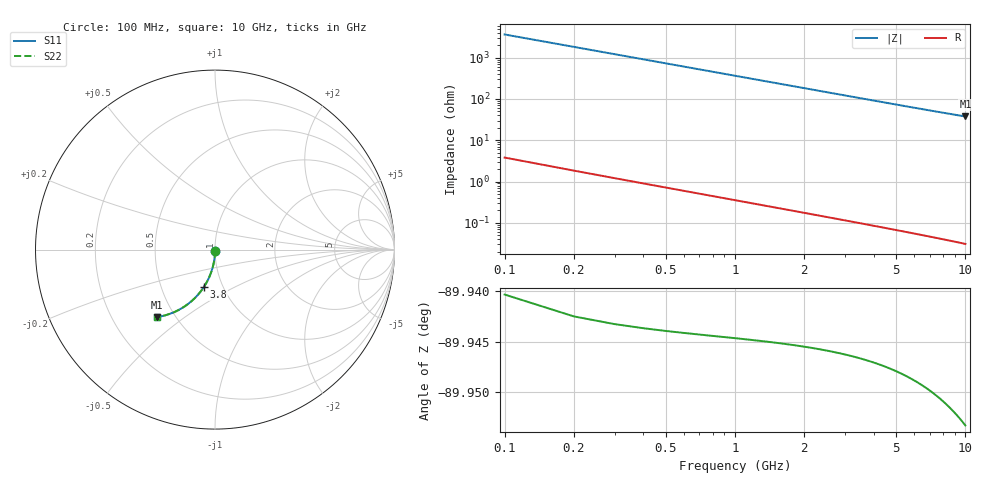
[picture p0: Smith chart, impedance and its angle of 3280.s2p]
# Hz S RI R 50.00
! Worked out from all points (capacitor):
!   100 points, 100 MHz to 10 GHz, reference 50 ohm
!   read as one part in shunt: C = 435 fF near 100 MHz
!   lowest |Z| = 37.7 ohm at 10 GHz (marker M1)
!   S11 on the Smith chart (normalised r, x): 100 MHz: 1.00, -0.01; 3.8 GHz: 0.81, -0.36; 10 GHz: 0.40, -0.40
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1e8  0.000153 -0.00591  0.9997 -0.00775  0.9997 -0.00775  0.000153 -0.00591
2e8  1.07e-05 -0.0118  0.9996 -0.0155  0.9996 -0.0155  1.07e-05 -0.0118
3e8  -0.000224 -0.0177  0.9993 -0.0233  0.9993 -0.0233  -0.000224 -0.0177
4e8  -0.00055 -0.0236  0.999 -0.031  0.999 -0.031  -0.00055 -0.0236
5e8  -0.000968 -0.0295  0.9986 -0.0387  0.9986 -0.0387  -0.000968 -0.0295
6e8  -0.00148 -0.0354  0.998 -0.0465  0.998 -0.0465  -0.00148 -0.0354
7e8  -0.00208 -0.0413  0.9974 -0.0542  0.9974 -0.0542  -0.00208 -0.0413
8e8  -0.00277 -0.0471  0.9967 -0.0619  0.9967 -0.0619  -0.00277 -0.0471
9e8  -0.00355 -0.053  0.9959 -0.0696  0.9959 -0.0696  -0.00355 -0.053
1.1e9  -0.00538 -0.0647  0.994 -0.0849  0.994 -0.0849  -0.00538 -0.0647
1.4e9  -0.0088 -0.082  0.9904 -0.1078  0.9904 -0.1078  -0.0088 -0.082
1.8e9  -0.0146 -0.1048  0.9844 -0.138  0.9844 -0.138  -0.0146 -0.1048
2.1e9  -0.0198 -0.1216  0.979 -0.1604  0.979 -0.1604  -0.0198 -0.1216
2.5e9  -0.028 -0.1434  0.9705 -0.1897  0.9705 -0.1897  -0.028 -0.1434
2.9e9  -0.0374 -0.1647  0.9607 -0.2183  0.9607 -0.2183  -0.0374 -0.1647
3.4e9  -0.0508 -0.1901  0.9467 -0.2531  0.9467 -0.2531  -0.0508 -0.1901
3.8e9  -0.0629 -0.2096  0.9342 -0.2801  0.9342 -0.2801  -0.0629 -0.2096
4.4e9  -0.0828 -0.237  0.9134 -0.3188  0.9134 -0.3188  -0.0828 -0.237
5.1e9  -0.1085 -0.2662  0.8865 -0.3611  0.8865 -0.3611  -0.1085 -0.2662
6.7e9  -0.175 -0.3203  0.8166 -0.4458  0.8166 -0.4458  -0.175 -0.3203
8.4e9  -0.252 -0.3581  0.7349 -0.5166  0.7349 -0.5166  -0.252 -0.3581
1e10  -0.3252 -0.3762  0.656 -0.5664  0.656 -0.5664  -0.3252 -0.3762
